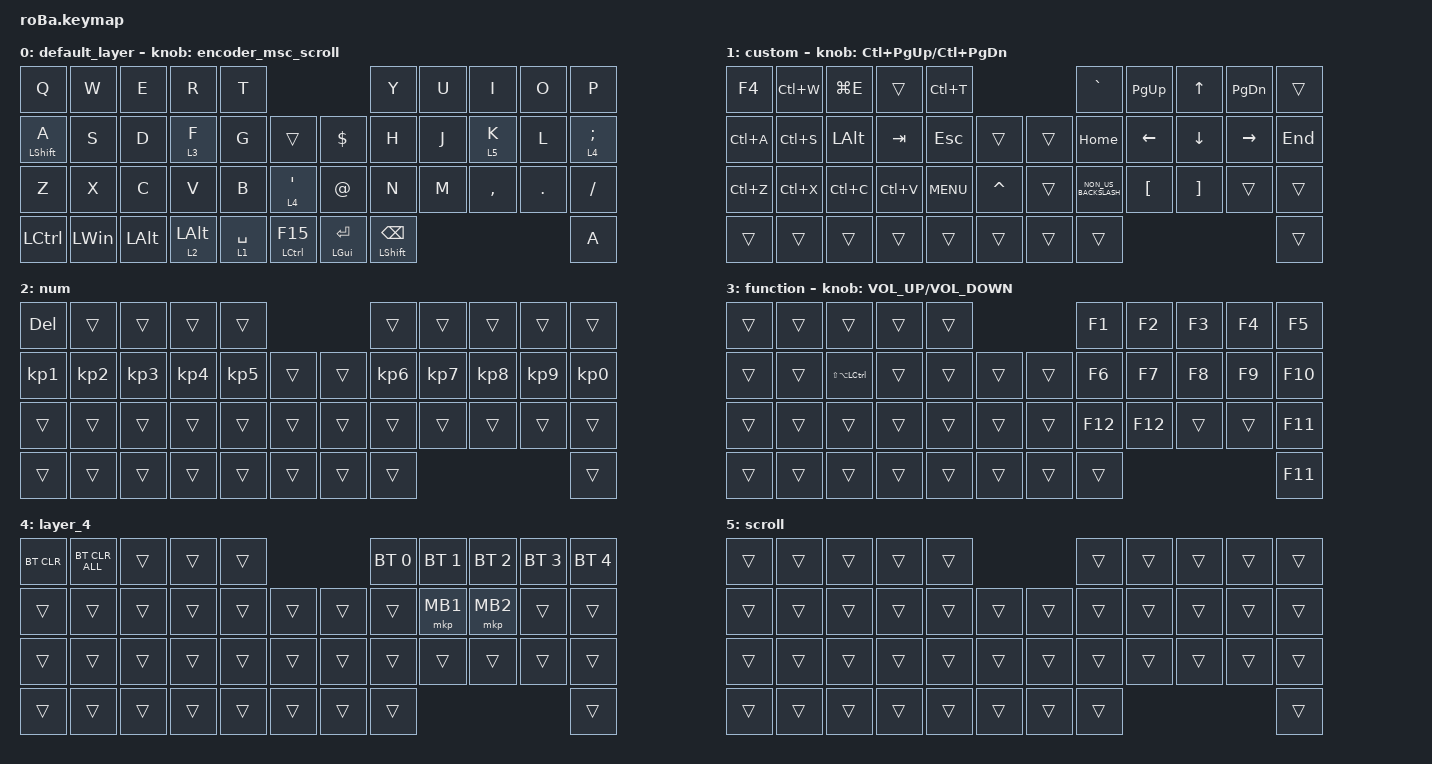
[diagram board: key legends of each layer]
#define ZMK_POINTING_DEFAULT_SCRL_VAL 80

#include <behaviors.dtsi>
#include <dt-bindings/zmk/bt.h>
#include <dt-bindings/zmk/keys.h>
#include <dt-bindings/zmk/pointing.h>

&mt {
    flavor = "balanced";
    quick-tap-ms = <0>;
};

&trackball {
    //automouse-layer = <4>;
    //scroll-layers = <5>;
    // arrows {
    //     layers = <3>;
    //     bindings =
    //         <&kp RIGHT_ARROW>,
    //         <&kp LEFT_ARROW>,
    //         <&kp UP_ARROW>,
    //         <&kp DOWN_ARROW>;
    //     tick = <10>;
    //     wait-ms = <5>;
    //     tap-ms = <5>;
    // };
};

/ {
    behaviors {
        encoder_msc_scroll: encoder_msc_scroll {
            compatible = "zmk,behavior-sensor-rotate";
            #sensor-binding-cells = <0>;
            bindings = <&msc SCRL_UP>, <&msc SCRL_DOWN>;

            tap-ms = <20>;
        };

        bt_td: bluetooth_tap_dance {
            compatible = "zmk,behavior-tap-dance";
            #binding-cells = <0>;
            tapping-term-ms = <200>;
            bindings = <&bt BT_SEL 0>, <&bt BT_SEL 1>;
        };
    };

    combos {
        compatible = "zmk,combos";

        hash {
            bindings = <&kp HASH>;
            key-positions = <1 3 2>;
        };

        exqrametion {
            bindings = <&kp EXCLAMATION>;
            key-positions = <1 0>;
        };

        and {
            bindings = <&kp AMPERSAND>;
            key-positions = <12 13>;
        };

        question {
            bindings = <&kp QUESTION>;
            key-positions = <11 12 13>;
        };

        equal {
            bindings = <&kp EQUAL>;
            key-positions = <18 19>;
        };

        percent {
            bindings = <&kp PERCENT>;
            key-positions = <18 19 20>;
        };

        lkako {
            bindings = <&kp LEFT_PARENTHESIS>;
            key-positions = <24 25>;
        };

        rkako {
            bindings = <&kp RIGHT_PARENTHESIS>;
            key-positions = <30 31>;
        };

        underbar {
            bindings = <&kp UNDERSCORE>;
            key-positions = <30 31 32>;
        };

        minus {
            bindings = <&kp MINUS>;
            key-positions = <8 9>;
        };

        plus {
            bindings = <&kp PLUS>;
            key-positions = <20 21>;
        };

        astarisc {
            bindings = <&kp ASTERISK>;
            key-positions = <13 18>;
        };

        win1 {
            bindings = <&kp LG(NUMBER_1)>;
            key-positions = <39 18>;
        };

        win2 {
            bindings = <&kp LG(NUMBER_2)>;
            key-positions = <39 19>;
        };

        win3 {
            bindings = <&kp LG(NUMBER_3)>;
            key-positions = <39 20>;
        };

        win4 {
            bindings = <&kp LG(NUMBER_4)>;
            key-positions = <39 21>;
        };

        win5 {
            bindings = <&kp LG(N5)>;
            key-positions = <39 17>;
        };

        win6 {
            bindings = <&kp LG(NUMBER_6)>;
            key-positions = <39 30>;
        };

        win7 {
            bindings = <&kp LG(N7)>;
            key-positions = <39 31>;
        };

        win8 {
            bindings = <&kp LG(N8)>;
            key-positions = <39 32>;
        };

        win9 {
            bindings = <&kp LG(N9)>;
            key-positions = <39 33>;
        };

        win0 {
            bindings = <&kp LG(N0)>;
            key-positions = <39 29>;
        };
    };

    keymap {
        compatible = "zmk,keymap";

        default_layer {
            bindings = <
&kp Q             &kp W         &kp E         &kp R           &kp T                                               &kp Y                     &kp U  &kp I      &kp O    &kp P
&mt LEFT_SHIFT A  &kp S         &kp D         &lt 3 F         &kp G        &trans             &kp DOLLAR          &kp H                     &kp J  &lt 5 K    &kp L    &lt 4 SEMICOLON
&kp Z             &kp X         &kp C         &kp V           &kp B        &lt 4 SQT          &kp AT_SIGN         &kp N                     &kp M  &kp COMMA  &kp DOT  &kp SLASH
&kp LCTRL         &kp LEFT_WIN  &kp LEFT_ALT  &lt 2 LEFT_ALT  &lt 1 SPACE  &mt LCTRL F15      &mt LEFT_GUI ENTER  &mt LEFT_SHIFT BACKSPACE                             &kp A
            >;

            sensor-bindings = <&encoder_msc_scroll>;
        };

        custom {
            bindings = <
&kp F4     &kp LC(W)  &kp LG(E)     &trans     &kp LC(T)                          &kp GRAVE             &kp PAGE_UP       &kp UP_ARROW       &kp PAGE_DOWN  &trans
&kp LC(A)  &kp LC(S)  &kp LEFT_ALT  &kp TAB    &kp ESCAPE  &trans         &trans  &kp HOME              &kp LEFT          &kp DOWN           &kp RIGHT      &kp END
&kp LC(Z)  &kp LC(X)  &kp LC(C)     &kp LC(V)  &kp K_MENU  &kp CARET      &trans  &kp NON_US_BACKSLASH  &kp LEFT_BRACKET  &kp RIGHT_BRACKET  &trans         &trans
&trans     &trans     &trans        &trans     &trans      &trans         &trans  &trans                                                                    &trans
            >;

            sensor-bindings = <&inc_dec_kp LC(PAGE_UP) LC(PAGE_DOWN)>;
        };

        num {
            bindings = <
&kp DELETE       &trans           &trans           &trans           &trans                               &trans           &trans           &trans           &trans           &trans
&kp KP_NUMBER_1  &kp KP_NUMBER_2  &kp KP_NUMBER_3  &kp KP_NUMBER_4  &kp KP_NUMBER_5  &trans      &trans  &kp KP_NUMBER_6  &kp KP_NUMBER_7  &kp KP_NUMBER_8  &kp KP_NUMBER_9  &kp KP_NUMBER_0
&trans           &trans           &trans           &trans           &trans           &trans      &trans  &trans           &trans           &trans           &trans           &trans
&trans           &trans           &trans           &trans           &trans           &trans      &trans  &trans                                                              &trans
            >;
        };

        function {
            bindings = <
&trans  &trans  &trans             &trans  &trans                      &kp F1   &kp F2   &kp F3  &kp F4  &kp F5
&trans  &trans  &kp LS(LA(LCTRL))  &trans  &trans  &trans      &trans  &kp F6   &kp F7   &kp F8  &kp F9  &kp F10
&trans  &trans  &trans             &trans  &trans  &trans      &trans  &kp F12  &kp F12  &trans  &trans  &kp F11
&trans  &trans  &trans             &trans  &trans  &trans      &trans  &trans                            &kp F11
            >;

            sensor-bindings = <&inc_dec_kp C_VOLUME_UP C_VOLUME_DOWN>;
        };

        layer_4 {
            bindings = <
&bt BT_CLR  &bt BT_CLR_ALL  &trans  &trans  &trans                      &bt BT_SEL 0  &bt BT_SEL 1  &bt BT_SEL 2  &bt BT_SEL 3  &bt BT_SEL 4
&trans      &trans          &trans  &trans  &trans  &trans      &trans  &trans        &mkp MB1      &mkp MB2      &trans        &trans
&trans      &trans          &trans  &trans  &trans  &trans      &trans  &trans        &trans        &trans        &trans        &trans
&trans      &trans          &trans  &trans  &trans  &trans      &trans  &trans                                                  &trans
            >;
        };

        scroll {
            bindings = <
&trans  &trans  &trans  &trans  &trans                      &trans  &trans  &trans  &trans  &trans
&trans  &trans  &trans  &trans  &trans  &trans      &trans  &trans  &trans  &trans  &trans  &trans
&trans  &trans  &trans  &trans  &trans  &trans      &trans  &trans  &trans  &trans  &trans  &trans
&trans  &trans  &trans  &trans  &trans  &trans      &trans  &trans                          &trans
            >;
        };
    };
};
